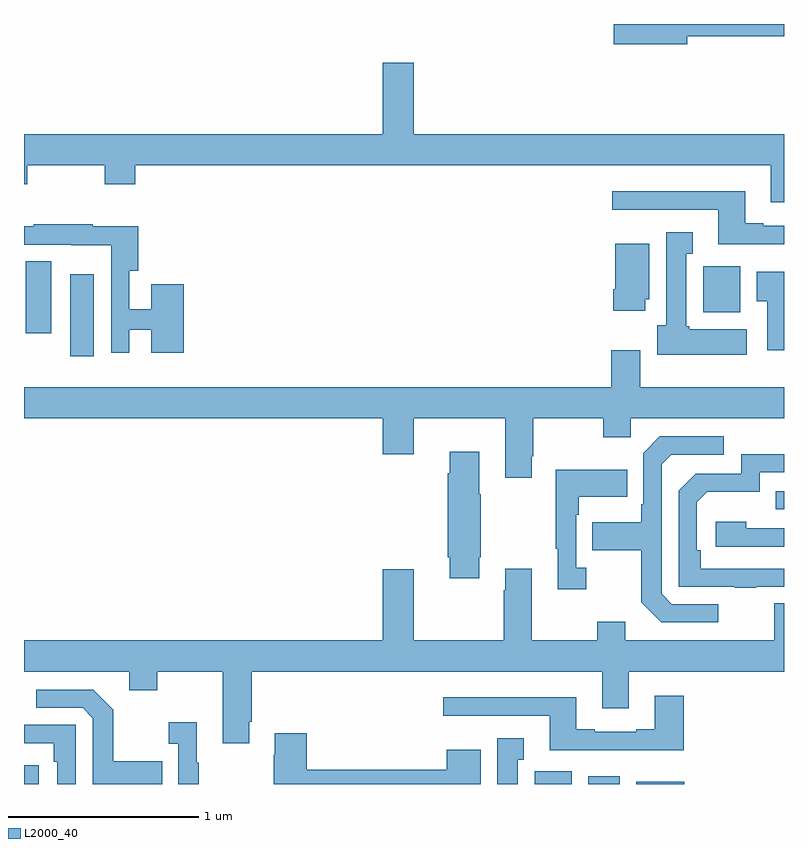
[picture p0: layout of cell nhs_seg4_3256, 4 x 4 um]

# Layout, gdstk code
import gdstk
lib = gdstk.Library(unit=1e-6, precision=1e-09)
def R(c, l, rs):  # rectangles x0, y0, x1, y1
    for r in rs: c.add(gdstk.rectangle(r[:2], r[2:], *l))
def P(c, l, *ps):  # polygons
    for p in ps: c.add(gdstk.Polygon(p, *l))
L2000_40 = (2000, 40)

nhs_seg4_3256 = lib.new_cell('nhs_seg4_3256')
R(nhs_seg4_3256, L2000_40, [(283,790.9,283.078,790.998), (285.687,790.9,285.883,790.968), (285.971,790.9,286.135,790.942), (286.223,790.9,286.474,790.912), (286.957,792.345,287,792.441), (283.244,793.152,283.366,793.582), (283.01,793.272,283.144,793.652), (286.574,793.382,286.771,793.624)])
P(nhs_seg4_3256, L2000_40, [(286.492,794.836),(287,794.836),(287,794.9),(286.104,794.9),(286.104,794.794),(286.492,794.794)],
  [(287,794.32),(285.052,794.32),(285.052,794.695),(284.888,794.695),(284.888,794.32),(283,794.32),(283,794.057),(283.017,794.057),(283.017,794.156),(283.426,794.156),(283.426,794.057),(283.586,794.057),(283.586,794.156),(286.931,794.156),(286.931,793.962),(287,793.962)],
  [(287,793.839),(286.891,793.839),(286.891,793.852),(286.795,793.852),(286.795,794.02),(286.095,794.02),(286.095,793.923),(286.655,793.923),(286.655,793.742),(287,793.742)],
  [(283.554,793.29),(283.67,793.29),(283.67,793.17),(283.841,793.17),(283.841,793.531),(283.67,793.531),(283.67,793.4),(283.554,793.4),(283.554,793.601),(283.601,793.601),(283.601,793.836),(283.361,793.836),(283.361,793.846),(283.051,793.846),(283.051,793.836),(283,793.836),(283,793.737),(283.248,793.737),(283.248,793.736),(283.458,793.736),(283.458,793.17),(283.554,793.17)],
  [(286.804,793.294),(286.5,793.294),(286.5,793.308),(286.486,793.308),(286.486,793.691),(286.519,793.691),(286.519,793.804),(286.379,793.804),(286.379,793.314),(286.334,793.314),(286.334,793.16),(286.804,793.16)],
  [(286.27,793.452),(286.291,793.452),(286.291,793.744),(286.112,793.744),(286.112,793.504),(286.1,793.504),(286.1,793.392),(286.27,793.392)],
  [(287,793.597),(286.856,793.597),(286.856,793.441),(286.913,793.441),(286.913,793.182),(287,793.182)],
  [(283,792.824),(284.888,792.824),(284.888,792.636),(285.052,792.636),(285.052,792.824),(285.533,792.824),(285.533,792.513),(285.673,792.513),(285.673,792.625),(285.681,792.625),(285.681,792.824),(286.048,792.824),(286.048,792.725),(286.194,792.725),(286.194,792.824),(287,792.824),(287,792.988),(286.243,792.988),(286.243,793.183),(286.091,793.183),(286.091,792.988),(283,792.988)],
  [(286.654,791.847),(286.41,791.847),(286.356,791.901),(286.356,792.582),(286.407,792.633),(286.684,792.633),(286.684,792.729),(286.347,792.729),(286.26,792.642),(286.26,792.373),(286.248,792.373),(286.248,792.277),(285.991,792.277),(285.991,792.13),(286.248,792.13),(286.248,791.857),(286.353,791.751),(286.654,791.751)],
  [(285.397,792.094),(285.405,792.094),(285.405,792.425),(285.397,792.425),(285.397,792.649),(285.242,792.649),(285.242,792.536),(285.23,792.536),(285.23,792.094),(285.242,792.094),(285.242,791.982),(285.397,791.982)],
  [(286.853,791.937),(287,791.937),(287,792.033),(286.562,792.033),(286.562,792.13),(286.542,792.13),(286.542,792.384),(286.595,792.437),(286.872,792.437),(286.872,792.54),(287,792.54),(287,792.636),(286.776,792.636),(286.776,792.534),(286.536,792.534),(286.446,792.444),(286.446,791.937),(286.741,791.937),(286.741,791.932),(286.853,791.932)],
  [(285.958,792.038),(285.906,792.038),(285.906,792.317),(285.919,792.317),(285.919,792.413),(286.175,792.413),(286.175,792.553),(285.798,792.553),(285.798,792.137),(285.809,792.137),(285.809,791.925),(285.958,791.925)],
  [(287,792.246),(286.802,792.246),(286.802,792.28),(286.641,792.28),(286.641,792.15),(287,792.15)],
  [(284.185,791.227),(284.198,791.227),(284.198,791.492),(286.043,791.492),(286.043,791.298),(286.183,791.298),(286.183,791.492),(287,791.492),(287,791.851),(286.949,791.851),(286.949,791.656),(286.165,791.656),(286.165,791.755),(286.018,791.755),(286.018,791.656),(285.673,791.656),(285.673,792.034),(285.533,792.034),(285.533,791.921),(285.526,791.921),(285.526,791.656),(285.052,791.656),(285.052,792.031),(284.888,792.031),(284.888,791.656),(283,791.656),(283,791.492),(283.553,791.492),(283.553,791.393),(283.701,791.393),(283.701,791.492),(284.045,791.492),(284.045,791.115),(284.185,791.115)],
  [(283.727,791.019),(283.471,791.019),(283.471,791.291),(283.365,791.397),(283.065,791.397),(283.065,791.301),(283.308,791.301),(283.362,791.247),(283.362,790.9),(283.727,790.9)],
  [(286.472,791.365),(286.319,791.365),(286.319,791.188),(286.223,791.188),(286.223,791.175),(286.003,791.175),(286.003,791.188),(285.907,791.188),(285.907,791.356),(285.207,791.356),(285.207,791.259),(285.767,791.259),(285.767,791.078),(286.472,791.078)],
  [(283.921,791.011),(283.909,791.011),(283.909,791.224),(283.761,791.224),(283.761,791.111),(283.812,791.111),(283.812,790.9),(283.921,790.9)],
  [(283.272,791.211),(283,791.211),(283,791.115),(283.156,791.115),(283.156,791.018),(283.176,791.018),(283.176,790.9),(283.272,790.9)],
  [(285.403,791.08),(285.224,791.08),(285.224,790.976),(284.489,790.976),(284.489,791.167),(284.321,791.167),(284.321,791.054),(284.314,791.054),(284.314,790.9),(285.403,790.9)],
  [(285.598,791.027),(285.631,791.027),(285.631,791.14),(285.491,791.14),(285.491,790.9),(285.598,790.9)])

lib.write_gds('nhs_seg4_3256.gds')
